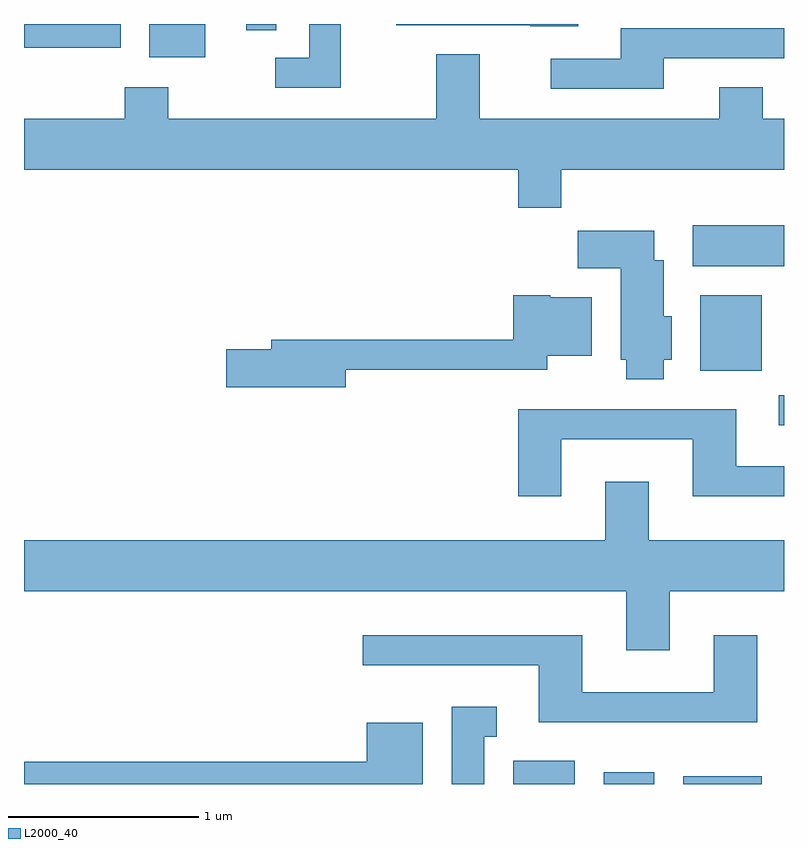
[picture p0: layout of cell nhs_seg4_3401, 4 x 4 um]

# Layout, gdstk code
import gdstk
lib = gdstk.Library(unit=1e-6, precision=1e-09)
def R(c, l, rs):  # rectangles x0, y0, x1, y1
    for r in rs: c.add(gdstk.rectangle(r[:2], r[2:], *l))
def P(c, l, *ps):  # polygons
    for p in ps: c.add(gdstk.Polygon(p, *l))
L2000_40 = (2000, 40)

nhs_seg4_3401 = lib.new_cell('nhs_seg4_3401')
R(nhs_seg4_3401, L2000_40, [(288.186,1255.982,288.509,1256.104), (288.661,1255.982,288.929,1256.044), (289.081,1255.982,289.494,1256.024), (289.583,1257.871,289.611,1258.029), (289.171,1258.156,289.494,1258.554), (289.131,1258.706,289.611,1258.924), (286.271,1259.806,286.564,1259.982), (285.613,1259.856,286.119,1259.982), (286.781,1259.948,286.939,1259.982)])
P(nhs_seg4_3401, L2000_40, [(288.529,1259.982),(287.571,1259.982),(287.571,1259.976),(288.275,1259.976),(288.275,1259.971),(288.529,1259.971)],
  [(287.279,1259.982),(287.111,1259.982),(287.111,1259.804),(286.933,1259.804),(286.933,1259.646),(287.279,1259.646)],
  [(288.979,1259.801),(289.611,1259.801),(289.611,1259.959),(288.751,1259.959),(288.751,1259.799),(288.383,1259.799),(288.383,1259.641),(288.979,1259.641)],
  [(288.439,1259.216),(289.611,1259.216),(289.611,1259.484),(289.499,1259.484),(289.499,1259.649),(289.271,1259.649),(289.271,1259.484),(288.009,1259.484),(288.009,1259.824),(287.781,1259.824),(287.781,1259.484),(286.369,1259.484),(286.369,1259.649),(286.141,1259.649),(286.141,1259.484),(285.611,1259.484),(285.611,1259.216),(288.211,1259.216),(288.211,1259.016),(288.439,1259.016)],
  [(288.979,1258.216),(289.019,1258.216),(289.019,1258.444),(288.979,1258.444),(288.979,1258.739),(288.929,1258.739),(288.929,1258.894),(288.526,1258.894),(288.526,1258.696),(288.751,1258.696),(288.751,1258.216),(288.781,1258.216),(288.781,1258.111),(288.979,1258.111)],
  [(287.304,1258.161),(288.364,1258.161),(288.364,1258.236),(288.599,1258.236),(288.599,1258.544),(288.38,1258.544),(288.38,1258.554),(288.186,1258.554),(288.186,1258.319),(286.911,1258.319),(286.911,1258.269),(286.676,1258.269),(286.676,1258.071),(287.304,1258.071)],
  [(288.439,1257.796),(289.131,1257.796),(289.131,1257.496),(289.611,1257.496),(289.611,1257.654),(289.359,1257.654),(289.359,1257.954),(288.211,1257.954),(288.211,1257.496),(288.439,1257.496)],
  [(289.009,1256.996),(289.611,1256.996),(289.611,1257.264),(288.899,1257.264),(288.899,1257.574),(288.671,1257.574),(288.671,1257.264),(285.611,1257.264),(285.611,1256.996),(288.781,1256.996),(288.781,1256.686),(289.009,1256.686)],
  [(289.469,1256.764),(289.241,1256.764),(289.241,1256.464),(288.549,1256.464),(288.549,1256.764),(287.393,1256.764),(287.393,1256.606),(288.321,1256.606),(288.321,1256.306),(289.469,1256.306)],
  [(288.034,1256.231),(288.098,1256.231),(288.098,1256.389),(287.861,1256.389),(287.861,1255.982),(288.034,1255.982)],
  [(287.709,1256.304),(287.416,1256.304),(287.416,1256.099),(285.611,1256.099),(285.611,1255.982),(287.709,1255.982)])

lib.write_gds('nhs_seg4_3401.gds')
